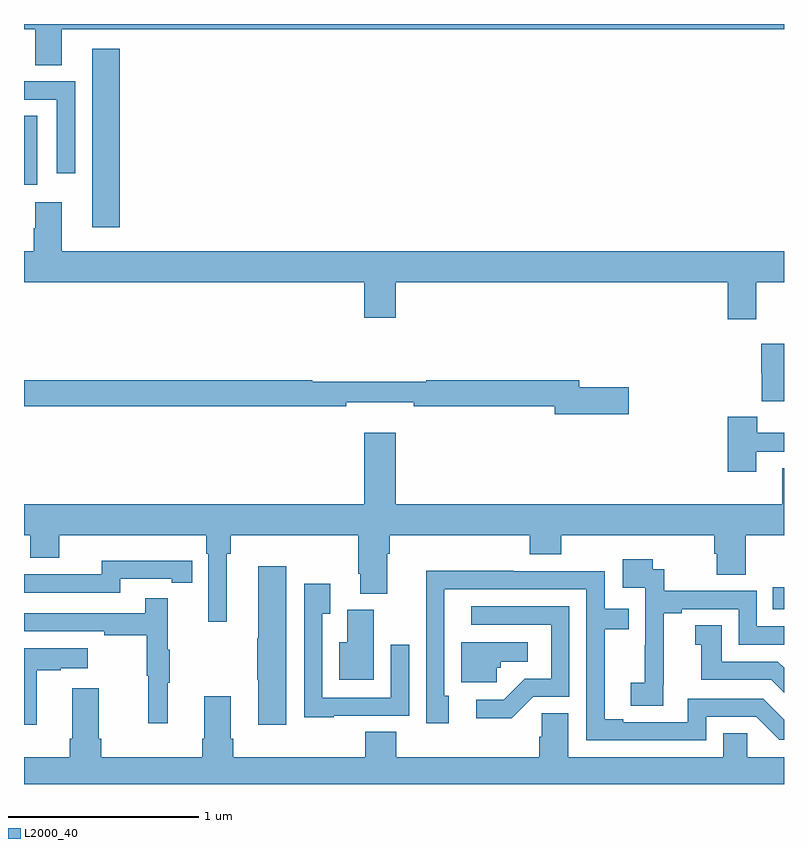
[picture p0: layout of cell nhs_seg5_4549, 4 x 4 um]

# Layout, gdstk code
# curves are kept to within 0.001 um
import gdstk
lib = gdstk.Library(unit=1e-6, precision=1e-09)
def R(c, l, rs):  # rectangles x0, y0, x1, y1
    for r in rs: c.add(gdstk.rectangle(r[:2], r[2:], *l))
def P(c, l, *ps):  # polygons
    for p in ps: c.add(gdstk.Polygon(p, *l))
L2000_40 = (2000, 40)

nhs_seg5_4549 = lib.new_cell('nhs_seg5_4549')
R(nhs_seg5_4549, L2000_40, [(382.942,841.719,383,841.834), (379.358,843.729,379.505,844.669), (379,843.954,379.069,844.316)])
P(nhs_seg5_4549, L2000_40, [(379.198,844.772),(383,844.772),(383,844.799),(379,844.799),(379,844.772),(379.058,844.772),(379.058,844.582),(379.198,844.582)],
  [(379.269,844.497),(379,844.497),(379,844.401),(379.173,844.401),(379.173,844.014),(379.269,844.014)],
  [(382.855,843.44),(383,843.44),(383,843.604),(379.198,843.604),(379.198,843.862),(379.058,843.862),(379.058,843.725),(379.051,843.725),(379.051,843.604),(379,843.604),(379,843.44),(380.792,843.44),(380.792,843.252),(380.956,843.252),(380.956,843.44),(382.703,843.44),(382.703,843.246),(382.855,843.246)],
  [(383,843.115),(382.88,843.115),(382.88,842.961),(382.882,842.961),(382.882,842.813),(383,842.813)],
  [(382.183,842.888),(381.922,842.888),(381.922,842.924),(381.118,842.924),(381.118,842.917),(380.518,842.917),(380.518,842.924),(379,842.924),(379,842.788),(380.696,842.788),(380.696,842.807),(381.052,842.807),(381.052,842.788),(381.794,842.788),(381.794,842.746),(382.183,842.746)],
  [(382.855,842.547),(383,842.547),(383,842.647),(382.858,842.647),(382.858,842.731),(382.703,842.731),(382.703,842.442),(382.855,842.442)],
  [(380.792,842.272),(379,842.272),(379,842.108),(379.034,842.108),(379.034,841.991),(379.186,841.991),(379.186,842.108),(379.958,842.108),(379.958,842.012),(379.971,842.012),(379.971,841.653),(380.068,841.653),(380.068,842.012),(380.087,842.012),(380.087,842.108),(380.759,842.108),(380.759,841.906),(380.771,841.906),(380.771,841.801),(380.911,841.801),(380.911,842.012),(380.924,842.012),(380.924,842.108),(381.662,842.108),(381.662,842.009),(381.827,842.009),(381.827,842.108),(382.634,842.108),(382.634,842.01),(382.646,842.01),(382.646,841.9),(382.799,841.9),(382.799,842.108),(383,842.108),(383,842.462),(382.991,842.462),(382.991,842.272),(380.956,842.272),(380.956,842.647),(380.792,842.647)],
  [(382.364,841.321),(382.366,841.321),(382.366,841.699),(382.462,841.699),(382.462,841.719),(382.761,841.719),(382.761,841.533),(383,841.533),(383,841.629),(382.857,841.629),(382.857,841.815),(382.37,841.815),(382.37,841.929),(382.308,841.929),(382.308,841.981),(382.152,841.981),(382.152,841.833),(382.269,841.833),(382.269,841.529),(382.268,841.529),(382.268,841.332),(382.194,841.332),(382.194,841.21),(382.364,841.21)],
  [(379.506,841.878),(379.778,841.878),(379.778,841.858),(379.886,841.858),(379.886,841.974),(379.778,841.974),(379.778,841.975),(379.41,841.975),(379.41,841.902),(379,841.902),(379,841.806),(379.506,841.806)],
  [(380.38,841.945),(380.234,841.945),(380.234,841.565),(380.227,841.565),(380.227,841.348),(380.234,841.348),(380.234,841.11),(380.38,841.11)],
  [(382.59,841.152),(382.854,841.152),(382.974,841.032),(383,841.032),(383,841.138),(382.89,841.248),(382.494,841.248),(382.494,841.125),(382.153,841.125),(382.153,841.14),(382.057,841.14),(382.057,841.614),(382.184,841.614),(382.184,841.722),(382.056,841.722),(382.056,841.92),(381.578,841.92),(381.578,841.922),(381.116,841.922),(381.117,841.119),(381.235,841.119),(381.235,841.263),(381.213,841.263),(381.213,841.824),(381.96,841.824),(381.96,841.029),(382.59,841.029)],
  [(380.631,841.158),(381.027,841.158),(381.027,841.531),(380.931,841.531),(380.931,841.254),(380.571,841.254),(380.571,841.696),(380.611,841.696),(380.611,841.852),(380.475,841.852),(380.475,841.151),(380.631,841.151)],
  [(379.757,841.331),(379.768,841.331),(379.768,841.505),(379.757,841.505),(379.757,841.777),(379.639,841.777),(379.639,841.698),(379,841.698),(379,841.602),(379.423,841.602),(379.423,841.582),(379.647,841.582),(379.647,841.368),(379.654,841.368),(379.654,841.119),(379.757,841.119)],
  [(381.681,841.257),(381.87,841.257),(381.87,841.734),(381.354,841.734),(381.354,841.638),(381.774,841.638),(381.774,841.353),(381.636,841.353),(381.525,841.242),(381.381,841.242),(381.381,841.145),(381.568,841.145)],
  [(380.842,841.716),(380.702,841.716),(380.702,841.546),(380.66,841.546),(380.66,841.349),(380.842,841.349)],
  [(383,841.411),(382.968,841.443),(382.672,841.443),(382.672,841.634),(382.532,841.634),(382.532,841.531),(382.565,841.531),(382.565,841.347),(382.932,841.347),(383,841.279)],
  [(381.489,841.41),(381.508,841.41),(381.508,841.442),(381.652,841.442),(381.652,841.546),(381.302,841.546),(381.302,841.335),(381.489,841.335)],
  [(379.066,841.399),(379.193,841.399),(379.193,841.409),(379.336,841.409),(379.336,841.513),(379,841.513),(379,841.11),(379.066,841.11)],
  [(383,840.94),(382.806,840.94),(382.806,841.067),(382.679,841.067),(382.679,840.94),(381.865,840.94),(381.865,841.172),(381.726,841.172),(381.726,841.049),(381.713,841.049),(381.713,840.94),(380.96,840.94),(380.96,841.073),(380.795,841.073),(380.795,840.94),(380.102,840.94),(380.102,841.036),(380.089,841.036),(380.089,841.261),(379.949,841.261),(379.949,841.036),(379.937,841.036),(379.937,840.94),(379.406,840.94),(379.406,841.036),(379.393,841.036),(379.393,841.303),(379.253,841.303),(379.253,841.036),(379.241,841.036),(379.241,840.94),(379,840.94),(379,840.799),(383,840.799)])

lib.write_gds('nhs_seg5_4549.gds')
